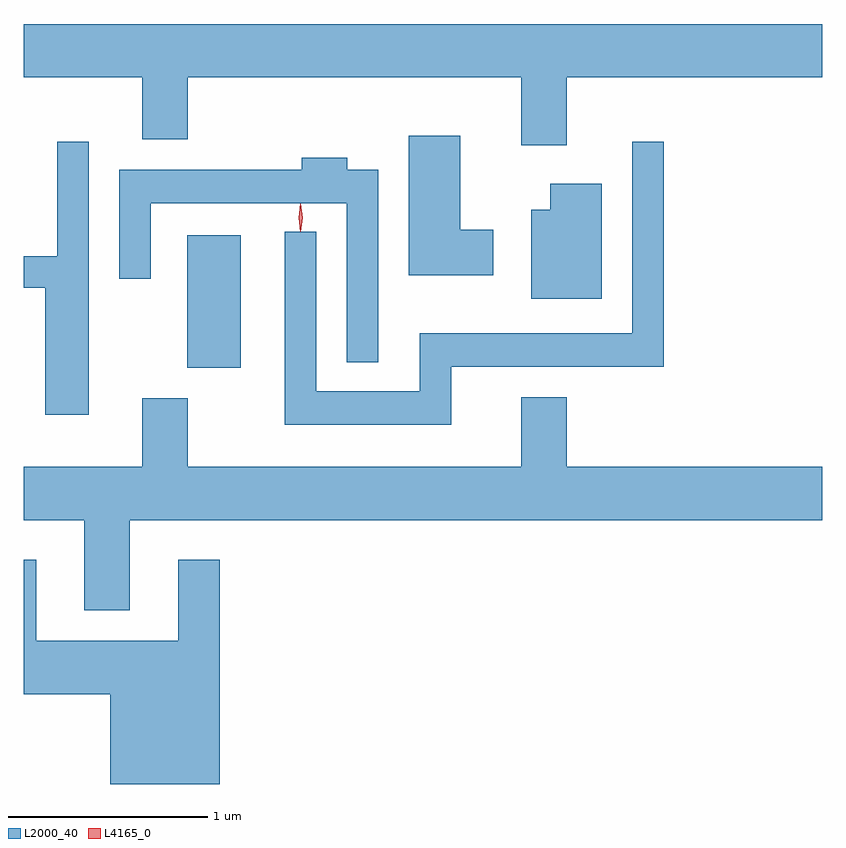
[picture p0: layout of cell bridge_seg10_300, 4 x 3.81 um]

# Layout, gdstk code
import gdstk
lib = gdstk.Library(unit=1e-6, precision=1e-09)
def R(c, l, rs):  # rectangles x0, y0, x1, y1
    for r in rs: c.add(gdstk.rectangle(r[:2], r[2:], *l))
def P(c, l, *ps):  # polygons
    for p in ps: c.add(gdstk.Polygon(p, *l))
L2000_40 = (2000, 40)
L4165_0 = (4165, 0)

bridge_seg10_300 = lib.new_cell('bridge_seg10_300')
R(bridge_seg10_300, L2000_40, [(1426.646,2176.841,1426.914,2177.504)])
P(bridge_seg10_300, L2000_40, [(1428.549,2178.296),(1429.828,2178.296),(1429.828,2178.564),(1425.828,2178.564),(1425.828,2178.296),(1426.421,2178.296),(1426.421,2177.986),(1426.649,2177.986),(1426.649,2178.296),(1428.321,2178.296),(1428.321,2177.956),(1428.549,2177.956)],
  [(1428.179,2177.534),(1428.014,2177.534),(1428.014,2178.004),(1427.756,2178.004),(1427.756,2177.306),(1428.179,2177.306)],
  [(1427.969,2176.846),(1429.034,2176.846),(1429.034,2177.973),(1428.876,2177.973),(1428.876,2177.014),(1427.811,2177.014),(1427.811,2176.724),(1427.294,2176.724),(1427.294,2177.523),(1427.136,2177.523),(1427.136,2176.556),(1427.969,2176.556)],
  [(1426.154,2177.973),(1425.996,2177.973),(1425.996,2177.399),(1425.828,2177.399),(1425.828,2177.241),(1425.936,2177.241),(1425.936,2176.606),(1426.154,2176.606)],
  [(1427.604,2177.834),(1427.449,2177.834),(1427.449,2177.894),(1427.221,2177.894),(1427.221,2177.834),(1426.306,2177.834),(1426.306,2177.288),(1426.464,2177.288),(1426.464,2177.666),(1427.446,2177.666),(1427.446,2176.868),(1427.604,2176.868)],
  [(1428.724,2177.764),(1428.466,2177.764),(1428.466,2177.634),(1428.371,2177.634),(1428.371,2177.186),(1428.724,2177.186)],
  [(1426.359,2176.076),(1429.828,2176.076),(1429.828,2176.344),(1428.549,2176.344),(1428.549,2176.694),(1428.321,2176.694),(1428.321,2176.344),(1426.649,2176.344),(1426.649,2176.689),(1426.421,2176.689),(1426.421,2176.344),(1425.828,2176.344),(1425.828,2176.076),(1426.131,2176.076),(1426.131,2175.626),(1426.359,2175.626)],
  [(1426.809,2175.879),(1426.601,2175.879),(1426.601,2175.474),(1425.889,2175.474),(1425.889,2175.879),(1425.828,2175.879),(1425.828,2175.206),(1426.261,2175.206),(1426.261,2174.755),(1426.809,2174.755)])
P(bridge_seg10_300, L4165_0, [(1427.215,2177.527),(1427.214,2177.528),(1427.205,2177.594),(1427.214,2177.66),(1427.215,2177.66),(1427.215,2177.66),(1427.225,2177.594),(1427.215,2177.528)],
  [(1427.214,2177.524),(1427.205,2177.593),(1427.214,2177.662),(1427.215,2177.663),(1427.215,2177.662),(1427.225,2177.593),(1427.215,2177.524),(1427.215,2177.524)])

lib.write_gds('bridge_seg10_300.gds')
